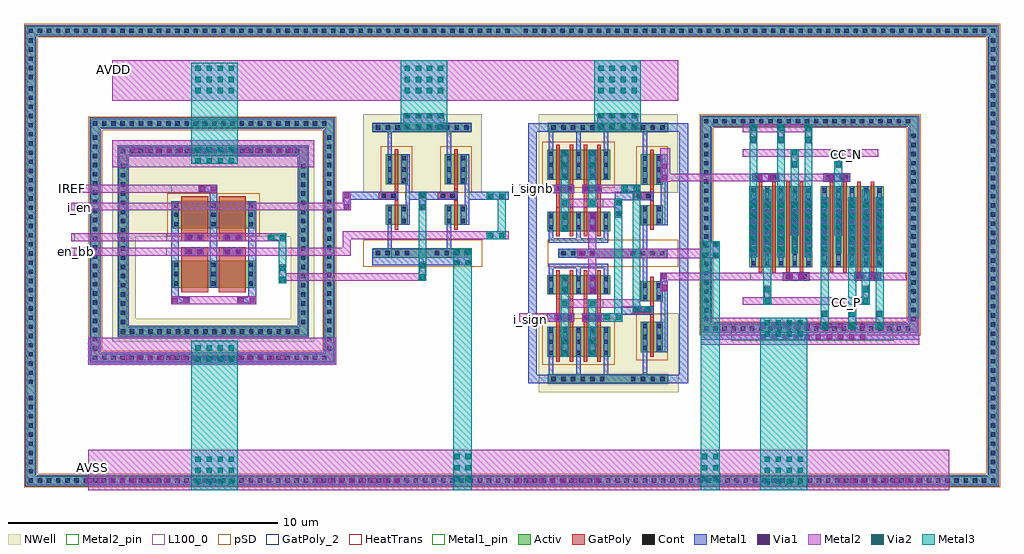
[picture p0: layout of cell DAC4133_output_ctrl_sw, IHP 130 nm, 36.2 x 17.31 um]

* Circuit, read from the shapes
.subckt DAC4133_output_ctrl_sw AVDD AVSS CC_N CC_P IREF en_bb i_en i_sign i_signb
XM1 IREF en_bb n1 AVSS sg13_lv_nmos w=1u l=1u m=2
XM2 n2 i_en AVSS AVSS sg13_lv_nmos w=0.74u l=0.13u
XM3 en_bb n2 AVSS AVSS sg13_lv_nmos w=0.74u l=0.13u
XM4 DAC4133_non_overlap_25/xa i_sign n3 AVSS sg13_lv_nmos w=0.72u l=0.13u m=2
XM5 DAC4133_non_overlap_25/xb i_signb n4 AVSS sg13_lv_nmos w=0.72u l=0.13u m=2
XM6 AVSS DAC4133_non_overlap_25/xb n3 AVSS sg13_lv_nmos w=0.72u l=0.13u m=2
XM7 AVSS DAC4133_non_overlap_25/xa n4 AVSS sg13_lv_nmos w=0.72u l=0.13u m=2
XM8 n5 DAC4133_non_overlap_25/xa AVSS AVSS sg13_lv_nmos w=0.74u l=0.13u
XM9 n6 DAC4133_non_overlap_25/xb AVSS AVSS sg13_lv_nmos w=0.74u l=0.13u
XM10 CC_P n6 n7 AVSS sg13_lv_nmos w=3u l=0.13u m=2
XM11 CC_N n5 n7 AVSS sg13_lv_nmos w=3u l=0.13u m=2
XM12 CC_N n6 AVSS AVSS sg13_lv_nmos w=3u l=0.13u m=2
XM13 CC_P n5 AVSS AVSS sg13_lv_nmos w=3u l=0.13u m=2
XM14 IREF n2 n1 AVDD sg13_lv_pmos w=1u l=1u m=2
XM15 n2 i_en AVDD AVDD sg13_lv_pmos w=1.12u l=0.13u
XM16 en_bb n2 AVDD AVDD sg13_lv_pmos w=1.12u l=0.13u
XM17 DAC4133_non_overlap_25/xa i_sign AVDD AVDD sg13_lv_pmos w=1.12u l=0.13u m=2
XM18 DAC4133_non_overlap_25/xb i_signb AVDD AVDD sg13_lv_pmos w=1.12u l=0.13u m=2
XM19 DAC4133_non_overlap_25/xa DAC4133_non_overlap_25/xb AVDD AVDD sg13_lv_pmos w=1.12u l=0.13u m=2
XM20 DAC4133_non_overlap_25/xb DAC4133_non_overlap_25/xa AVDD AVDD sg13_lv_pmos w=1.12u l=0.13u m=2
XM21 n5 DAC4133_non_overlap_25/xa AVDD AVDD sg13_lv_pmos w=1.12u l=0.13u
XM22 n6 DAC4133_non_overlap_25/xb AVDD AVDD sg13_lv_pmos w=1.12u l=0.13u
.ends

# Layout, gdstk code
from math import pi, radians
import gdstk
lib = gdstk.Library(unit=1e-6, precision=1e-09)
def R(c, l, rs):  # rectangles x0, y0, x1, y1
    for r in rs: c.add(gdstk.rectangle(r[:2], r[2:], *l))
def A(c, l, x, y, w, h, nx, ny, dx, dy):  # array of equal rectangles
    R(c, l, [(x+i*dx, y+j*dy, x+i*dx+w, y+j*dy+h) for i in range(nx) for j in range(ny)])
def P(c, l, *ps):  # polygons
    for p in ps: c.add(gdstk.Polygon(p, *l))
Activ = (1, 0)
GatPoly = (5, 0)
GatPoly_2 = (5, 2)
Cont = (6, 0)
Metal1 = (8, 0)
Metal1_pin = (8, 2)
Metal2 = (10, 0)
Metal2_pin = (10, 2)
pSD = (14, 0)
Via1 = (19, 0)
Via2 = (29, 0)
Metal3 = (30, 0)
NWell = (31, 0)
HeatTrans = (51, 0)
L100_0 = (100, 0)

via_stack_12 = lib.new_cell('via_stack$12')
R(via_stack_12, Metal2, [(-0.1,-0.35,0.1,0.35)])
R(via_stack_12, Via2, [(-0.095,-0.3,0.095,-0.11), (-0.095,0.11,0.095,0.3)])
R(via_stack_12, Metal3, [(-0.1,-0.35,0.1,0.35)])

via_stack_5 = lib.new_cell('via_stack$5')
R(via_stack_5, Metal1, [(-0.105,-0.35,0.105,0.35)])
R(via_stack_5, Metal2, [(-0.1,-0.35,0.1,0.35)])
R(via_stack_5, Via1, [(-0.095,-0.3,0.095,-0.11), (-0.095,0.11,0.095,0.3)])
R(via_stack_5, Via2, [(-0.095,-0.3,0.095,-0.11), (-0.095,0.11,0.095,0.3)])
R(via_stack_5, Metal3, [(-0.1,-0.35,0.1,0.35)])

via_stack_2 = lib.new_cell('via_stack$2')
R(via_stack_2, Metal2, [(-0.35,-0.1,0.35,0.1)])
R(via_stack_2, Via2, [(-0.3,-0.095,-0.11,0.095), (0.11,-0.095,0.3,0.095)])
R(via_stack_2, Metal3, [(-0.35,-0.1,0.35,0.1)])

via_stack_27 = lib.new_cell('via_stack$27')
R(via_stack_27, Metal2, [(-0.305,-0.555,0.305,0.555)])
A(via_stack_27, Via2, -0.3, -0.505, 0.19, 0.19, 1, 3, 0, 0.41)
A(via_stack_27, Via2, 0.11, -0.505, 0.19, 0.19, 1, 3, 0, 0.41)
R(via_stack_27, Metal3, [(-0.305,-0.555,0.305,0.555)])

via_stack_26 = lib.new_cell('via_stack$26')
R(via_stack_26, Metal1, [(-0.35,-0.105,0.35,0.105)])
R(via_stack_26, Metal2, [(-0.35,-0.1,0.35,0.1)])
R(via_stack_26, Via1, [(-0.3,-0.095,-0.11,0.095), (0.11,-0.095,0.3,0.095)])
R(via_stack_26, Via2, [(-0.3,-0.095,-0.11,0.095), (0.11,-0.095,0.3,0.095)])
R(via_stack_26, Metal3, [(-0.35,-0.1,0.35,0.1)])

via_stack_17 = lib.new_cell('via_stack$17')
R(via_stack_17, Metal1, [(-3.015,-0.105,3.015,0.105)])
R(via_stack_17, Metal2, [(-3.015,-0.1,3.015,0.1)])
A(via_stack_17, Via1, -2.965, -0.095, 0.19, 0.19, 15, 1, 0.41, 0)

via_stack_14 = lib.new_cell('via_stack$14')
R(via_stack_14, Metal1, [(-0.35,-0.105,0.35,0.105)])
R(via_stack_14, Metal2, [(-0.35,-0.1,0.35,0.1)])
R(via_stack_14, Via1, [(-0.3,-0.095,-0.11,0.095), (0.11,-0.095,0.3,0.095)])

pmos_3 = lib.new_cell('pmos$3')
R(pmos_3, Activ, [(0,0,0.3,0.3), (0,0,1.68,1), (1.38,0,1.68,0.3)])
R(pmos_3, GatPoly, [(0.34,-0.18,1.34,1.18), (0.34,-0.18,1.34,1.18)])
A(pmos_3, Cont, 0.07, 0.07, 0.16, 0.16, 1, 3, 0, 0.35)
A(pmos_3, Cont, 1.45, 0.07, 0.16, 0.16, 1, 3, 0, 0.35)
R(pmos_3, Metal1, [(0.07,0,0.23,1), (0.07,0,0.23,1), (1.45,0,1.61,1), (1.45,0,1.61,1)])
R(pmos_3, pSD, [(-0.18,-0.3,1.86,1.3)])
R(pmos_3, NWell, [(-0.31,-0.31,1.99,1.31)])
R(pmos_3, HeatTrans, [(0.34,-0.18,1.34,1.18)])
pmos_3.add(gdstk.Label('pmos', (0.84,0.5), layer=63, texttype=0))
pmos_3.add(gdstk.Label('pmos', (0.84,0.5), layer=51, texttype=0))

nmos_4 = lib.new_cell('nmos$4')
R(nmos_4, Activ, [(0,0,0.3,0.3), (0,0,1.68,1), (1.38,0,1.68,0.3)])
R(nmos_4, GatPoly, [(0.34,-0.18,1.34,1.18)])
R(nmos_4, GatPoly_2, [(0.34,-0.18,1.34,1.18)])
A(nmos_4, Cont, 0.07, 0.07, 0.16, 0.16, 1, 3, 0, 0.35)
A(nmos_4, Cont, 1.45, 0.07, 0.16, 0.16, 1, 3, 0, 0.35)
R(nmos_4, Metal1, [(0.07,0,0.23,1), (1.45,0,1.61,1)])
R(nmos_4, Metal1_pin, [(0.07,0,0.23,1), (1.45,0,1.61,1)])
R(nmos_4, HeatTrans, [(0.34,-0.18,1.34,1.18)])
nmos_4.add(gdstk.Label('nmos', (0.84,0.5), layer=63, texttype=0))
nmos_4.add(gdstk.Label('nmos', (0.84,0.5), layer=51, texttype=0))

dac4133_tgate = lib.new_cell('DAC4133_tgate')
P(dac4133_tgate, Activ, [(-7.265,-36.38),(-7.265,-27.69),(-6.955,-27.69),(-6.955,-36.07),(1.425,-36.07),(1.425,-27.69),(-7.265,-27.69),(-7.265,-27.38),(1.735,-27.38),(1.735,-36.38)],
  [(-6.23,-35.4),(-6.23,-28.71),(-5.92,-28.71),(-5.92,-35.09),(0.46,-35.09),(0.46,-28.71),(-6.23,-28.71),(-6.23,-28.4),(0.77,-28.4),(0.77,-35.4)])
R(dac4133_tgate, GatPoly, [(-3.91,-32.445,-2.91,-32.135), (-2.53,-32.445,-1.53,-32.135), (-3.91,-31.915,-2.91,-31.605), (-2.53,-31.915,-1.53,-31.605)])
A(dac4133_tgate, Cont, -7.195, -36.31, 0.16, 0.16, 26, 2, 0.34, 8.69)
A(dac4133_tgate, Cont, -7.195, -35.96, 0.16, 0.16, 1, 24, 0, 0.34)
A(dac4133_tgate, Cont, 1.495, -35.96, 0.16, 0.16, 1, 24, 0, 0.34)
A(dac4133_tgate, Cont, -6.16, -35.33, 0.16, 0.16, 20, 2, 0.34, 6.69)
A(dac4133_tgate, Cont, -6.16, -34.98, 0.16, 0.16, 1, 18, 0, 0.34)
A(dac4133_tgate, Cont, 0.53, -34.98, 0.16, 0.16, 1, 18, 0, 0.34)
R(dac4133_tgate, Cont, [(-3.665,-32.37,-3.505,-32.21), (-3.665,-32.37,-3.505,-32.21), (-3.305,-32.37,-3.145,-32.21), (-3.305,-32.37,-3.145,-32.21), (-2.265,-32.37,-2.105,-32.21), (-2.265,-32.37,-2.105,-32.21), (-1.905,-32.37,-1.745,-32.21), (-1.905,-32.37,-1.745,-32.21), (-3.665,-31.84,-3.505,-31.68), (-3.665,-31.84,-3.505,-31.68), (-3.305,-31.84,-3.145,-31.68), (-3.305,-31.84,-3.145,-31.68), (-2.265,-31.84,-2.105,-31.68), (-2.265,-31.84,-2.105,-31.68), (-1.905,-31.84,-1.745,-31.68), (-1.905,-31.84,-1.745,-31.68)])
R(dac4133_tgate, Metal1, [(-3.72,-32.445,-3.09,-32.135), (-2.32,-32.445,-1.69,-32.135), (-3.72,-31.915,-3.09,-31.605), (-2.32,-31.915,-1.69,-31.605)])
P(dac4133_tgate, Metal1, [(-7.315,-36.43),(-7.315,-27.74),(-6.905,-27.74),(-6.905,-36.02),(1.375,-36.02),(1.375,-27.74),(-7.315,-27.74),(-7.315,-27.33),(1.785,-27.33),(1.785,-36.43)],
  [(-6.28,-35.45),(-6.28,-28.76),(-5.87,-28.76),(-5.87,-35.04),(0.41,-35.04),(0.41,-28.76),(-6.28,-28.76),(-6.28,-28.35),(0.82,-28.35),(0.82,-35.45)])
R(dac4133_tgate, Metal2_pin, [(-7.365,-36.48,1.835,-35.48), (-4.295,-34.235,-1.145,-33.945), (-3.725,-34.235,-3.355,-33.945), (-4.78,-32.435,-4.46,-32.145), (-4.78,-31.905,-4.46,-31.615), (-4.295,-30.105,-2.575,-29.815), (-4.26,-30.105,-3.875,-29.815), (-6.47,-29.16,1.01,-28.16)])
P(dac4133_tgate, pSD, [(-7.365,-36.48),(-7.365,-27.79),(-6.855,-27.79),(-6.855,-35.97),(1.325,-35.97),(1.325,-27.79),(-7.365,-27.79),(-7.365,-27.28),(1.835,-27.28),(1.835,-36.48)])
R(dac4133_tgate, NWell, [(-6.47,-35.64,-5.61,-28.16), (-6.47,-35.64,1.01,-34.78), (0.15,-35.64,1.01,-28.16), (-6.47,-31.735,1.01,-28.16)])
P(dac4133_tgate, NWell, [(-6.47,-35.64),(-6.47,-28.95),(-5.68,-28.95),(-5.68,-34.85),(0.22,-34.85),(0.22,-28.95),(-6.47,-28.95),(-6.47,-28.16),(1.01,-28.16),(1.01,-35.64)])
dac4133_tgate.add(gdstk.FlexPath([(-4.15,-30.425),(-4.15,-34.235)], 0.29, ends="flush", simple_path=True, layer=8, datatype=0))  # Metal1
dac4133_tgate.add(gdstk.FlexPath([(-2.72,-29.815),(-2.72,-33.625)], 0.29, ends="flush", simple_path=True, layer=8, datatype=0))  # Metal1
dac4133_tgate.add(gdstk.FlexPath([(-1.29,-30.425),(-1.29,-34.235)], 0.29, ends="flush", simple_path=True, layer=8, datatype=0))  # Metal1
dac4133_tgate.add(gdstk.FlexPath([(-1.145,-34.09),(-4.295,-34.09)], 0.29, ends="flush", simple_path=True, layer=10, datatype=0))  # Metal2
dac4133_tgate.add(gdstk.FlexPath([(-1.655,-31.76),(-4.78,-31.76)], 0.29, ends="flush", simple_path=True, layer=10, datatype=0))  # Metal2
dac4133_tgate.add(gdstk.FlexPath([(-2.575,-29.96),(-4.295,-29.96)], 0.29, ends="flush", simple_path=True, layer=10, datatype=0))  # Metal2
dac4133_tgate.add(gdstk.FlexPath([(-1.655,-32.29),(-4.78,-32.29)], 0.29, ends="flush", simple_path=True, layer=10, datatype=0))  # Metal2
dac4133_tgate.add(gdstk.FlexPath([(-6.47,-28.66),(1.01,-28.66)], 1, ends="flush", simple_path=True, layer=10, datatype=0))  # Metal2
dac4133_tgate.add(gdstk.FlexPath([(-7.365,-35.98),(1.835,-35.98)], 1, ends="flush", simple_path=True, layer=10, datatype=0))  # Metal2
dac4133_tgate.add(gdstk.Reference(via_stack_17, (-2.725,-28.555)))
dac4133_tgate.add(gdstk.Reference(via_stack_14, (-2.925,-29.96)))
dac4133_tgate.add(gdstk.Reference(via_stack_14, (-3.435,-32.29)))
dac4133_tgate.add(gdstk.Reference(via_stack_14, (-3.435,-31.76)))
dac4133_tgate.add(gdstk.Reference(via_stack_14, (-2.005,-32.29)))
dac4133_tgate.add(gdstk.Reference(via_stack_14, (-2.005,-31.76)))
dac4133_tgate.add(gdstk.Reference(pmos_3, (-2.87,-31.425)))
dac4133_tgate.add(gdstk.Reference(nmos_4, (-4.25,-33.625)))
dac4133_tgate.add(gdstk.Reference(via_stack_14, (-3.945,-34.09)))
dac4133_tgate.add(gdstk.Reference(nmos_4, (-2.87,-33.625)))
dac4133_tgate.add(gdstk.Reference(pmos_3, (-4.25,-31.425)))
dac4133_tgate.add(gdstk.Reference(via_stack_14, (-1.495,-34.09)))
dac4133_tgate.add(gdstk.Reference(via_stack_17, (-3.02,-36.225)))
dac4133_tgate.add(gdstk.Label('AVDD', (-6.365,-28.275), layer=10, texttype=25))
dac4133_tgate.add(gdstk.Label('AVSS', (-5.975,-35.77), layer=10, texttype=25))
dac4133_tgate.add(gdstk.Label('IREF', (-4.23,-29.92), layer=10, texttype=25))

via_stack_20 = lib.new_cell('via_stack$20')
R(via_stack_20, Metal1, [(-0.105,-0.35,0.105,0.35)])
R(via_stack_20, Metal2, [(-0.1,-0.35,0.1,0.35)])
R(via_stack_20, Via1, [(-0.095,-0.3,0.095,-0.11), (-0.095,0.11,0.095,0.3)])

via_stack_10 = lib.new_cell('via_stack$10')
R(via_stack_10, Metal1, [(-1.58,-0.105,1.58,0.105)])
R(via_stack_10, Metal2, [(-1.58,-0.1,1.58,0.1)])
A(via_stack_10, Via1, -1.53, -0.095, 0.19, 0.19, 8, 1, 0.41, 0)

via_stack_24 = lib.new_cell('via_stack$24')
R(via_stack_24, Metal1, [(-0.76,-0.31,0.76,0.31)])
R(via_stack_24, Metal2, [(-0.76,-0.305,0.76,0.305)])
A(via_stack_24, Via1, -0.71, -0.3, 0.19, 0.19, 4, 2, 0.41, 0.41)
A(via_stack_24, Via2, -0.71, -0.3, 0.19, 0.19, 4, 2, 0.41, 0.41)
R(via_stack_24, Metal3, [(-0.76,-0.305,0.76,0.305)])

via_stack_25 = lib.new_cell('via_stack$25')
R(via_stack_25, Metal2, [(-0.76,-0.51,0.76,0.51)])
A(via_stack_25, Via2, -0.71, -0.505, 0.19, 0.19, 4, 3, 0.41, 0.41)
R(via_stack_25, Metal3, [(-0.76,-0.51,0.76,0.51)])

via_stack_22 = lib.new_cell('via_stack$22')
R(via_stack_22, Metal2, [(-0.76,-0.305,0.76,0.305)])
A(via_stack_22, Via2, -0.71, -0.3, 0.19, 0.19, 4, 2, 0.41, 0.41)
R(via_stack_22, Metal3, [(-0.76,-0.305,0.76,0.305)])

via_stack_19 = lib.new_cell('via_stack$19')
R(via_stack_19, Metal2, [(-0.145,-0.1,0.145,0.1)])
R(via_stack_19, Via2, [(-0.095,-0.095,0.095,0.095)])
R(via_stack_19, Metal3, [(-0.145,-0.1,0.145,0.1)])

nmos_2 = lib.new_cell('nmos$2')
A(nmos_2, Activ, 0, 0, 0.3, 0.3, 3, 1, 0.51, 0)
R(nmos_2, Activ, [(0,0,1.32,0.72)])
R(nmos_2, GatPoly, [(0.34,-0.18,0.47,0.9), (0.85,-0.18,0.98,0.9)])
R(nmos_2, GatPoly_2, [(0.34,-0.18,0.47,0.9)])
A(nmos_2, Cont, 0.07, 0.07, 0.16, 0.16, 3, 2, 0.51, 0.42)
A(nmos_2, Metal1, 0.07, 0, 0.16, 0.72, 3, 1, 0.51, 0)
R(nmos_2, Metal1_pin, [(0.07,0,0.23,0.72), (0.58,0,0.74,0.72)])
R(nmos_2, HeatTrans, [(0.34,-0.18,0.47,0.9), (0.85,-0.18,0.98,0.9)])
nmos_2.add(gdstk.Label('nmos', (0.405,0.36), layer=63, texttype=0))
nmos_2.add(gdstk.Label('nmos', (0.405,0.36), layer=51, texttype=0))
nmos_2.add(gdstk.Label('nmos', (0.915,0.36), layer=51, texttype=0))

pmos_4 = lib.new_cell('pmos$4')
A(pmos_4, Activ, 0, 0, 0.3, 0.3, 3, 1, 0.51, 0)
R(pmos_4, Activ, [(0,0,1.32,1.12)])
R(pmos_4, GatPoly, [(0.34,-0.18,0.47,1.3), (0.34,-0.18,0.47,1.3), (0.85,-0.18,0.98,1.3)])
A(pmos_4, Cont, 0.07, 0.07, 0.16, 0.16, 3, 3, 0.51, 0.41)
R(pmos_4, Metal1, [(0.07,0,0.23,1.12), (0.07,0,0.23,1.12), (0.58,0,0.74,1.12), (0.58,0,0.74,1.12), (1.09,0,1.25,1.12)])
R(pmos_4, pSD, [(-0.18,-0.3,1.5,1.42)])
R(pmos_4, NWell, [(-0.31,-0.31,1.63,1.43)])
R(pmos_4, HeatTrans, [(0.34,-0.18,0.47,1.3), (0.85,-0.18,0.98,1.3)])
pmos_4.add(gdstk.Label('pmos', (0.405,0.56), layer=63, texttype=0))
pmos_4.add(gdstk.Label('pmos', (0.405,0.56), layer=51, texttype=0))
pmos_4.add(gdstk.Label('pmos', (0.915,0.56), layer=51, texttype=0))

dac4133_nand = lib.new_cell('DAC4133_nand')
R(dac4133_nand, Activ, [(-0.015,-2.86,1.435,-2.51), (-0.425,1.8,1.83,2.15)])
R(dac4133_nand, GatPoly, [(-0.165,-0.455,0.205,-0.145), (0.195,-0.455,0.565,-0.145), (0.855,-0.455,1.225,-0.145), (1.215,-0.455,1.585,-0.145)])
A(dac4133_nand, Cont, 0.09, -2.765, 0.16, 0.16, 4, 1, 0.36, 0)
A(dac4133_nand, Cont, -0.28, 1.895, 0.16, 0.16, 6, 1, 0.36, 0)
R(dac4133_nand, Cont, [(-0.06,-0.38,0.1,-0.22), (0.3,-0.38,0.46,-0.22), (0.96,-0.38,1.12,-0.22), (1.32,-0.38,1.48,-0.22)])
R(dac4133_nand, Metal1, [(-0.03,-2.845,1.45,-2.525), (-0.165,-0.455,0.205,-0.145), (0.195,-0.455,0.565,-0.145), (0.855,-0.455,1.225,-0.145), (1.215,-0.455,1.585,-0.145), (-0.4,1.815,1.825,2.135)])
R(dac4133_nand, Metal1_pin, [(-0.03,-2.845,1.45,-2.525), (-0.45,-0.455,0.565,-0.145), (-0.4,1.815,1.825,2.135)])
R(dac4133_nand, Metal2, [(1.09,-2.82,1.38,-1.185), (0.68,-2.815,1.38,-2.57), (0.115,-1.895,0.34,-1.195), (0.1,0.455,0.325,1.155), (1.125,0.455,1.35,1.155)])
R(dac4133_nand, Metal2_pin, [(1.62,-0.975,2.07,-0.665), (0.87,-0.395,1.57,-0.195)])
A(dac4133_nand, pSD, -0.38, -3.185, 1.13, 1, 4, 1, 0.36, 0)
R(dac4133_nand, NWell, [(-0.755,1.465,2.205,2.465)])
dac4133_nand.add(gdstk.FlexPath([(-0.375,-2.215),(1.825,-2.215)], 0.16, ends="flush", simple_path=True, layer=8, datatype=0))  # Metal1
dac4133_nand.add(gdstk.FlexPath([(1.745,-1.875),(1.745,-2.295)], 0.16, ends="flush", simple_path=True, layer=8, datatype=0))  # Metal1
dac4133_nand.add(gdstk.FlexPath([(0.725,-1.875),(0.725,-2.295)], 0.16, ends="flush", simple_path=True, layer=8, datatype=0))  # Metal1
dac4133_nand.add(gdstk.FlexPath([(-0.295,-1.875),(-0.295,-2.295)], 0.16, ends="flush", simple_path=True, layer=8, datatype=0))  # Metal1
dac4133_nand.add(gdstk.FlexPath([(0.565,-0.3),(-0.45,-0.3)], 0.31, ends="flush", simple_path=True, layer=8, datatype=0))  # Metal1
dac4133_nand.add(gdstk.FlexPath([(-0.295,0.035),(-0.295,2.135)], 0.16, ends="flush", simple_path=True, layer=8, datatype=0))  # Metal1
dac4133_nand.add(gdstk.FlexPath([(0.725,0.035),(0.725,2.135)], 0.16, ends="flush", simple_path=True, layer=8, datatype=0))  # Metal1
dac4133_nand.add(gdstk.FlexPath([(1.745,0.035),(1.745,2.135)], 0.16, ends="flush", simple_path=True, layer=8, datatype=0))  # Metal1
dac4133_nand.add(gdstk.FlexPath([(2.07,-0.82),(0.065,-0.82)], 0.31, ends="flush", simple_path=True, layer=10, datatype=0))  # Metal2
dac4133_nand.add(gdstk.FlexPath([(-0.04,-0.975),(-0.04,-0.445)], 0.13, ends="flush", simple_path=True, layer=5, datatype=0))  # GatPoly
dac4133_nand.add(gdstk.FlexPath([(0.47,-0.975),(0.47,-0.455)], 0.13, ends="flush", simple_path=True, layer=5, datatype=0))  # GatPoly
dac4133_nand.add(gdstk.FlexPath([(0.98,-0.975),(0.98,-0.445)], 0.13, ends="flush", simple_path=True, layer=5, datatype=0))  # GatPoly
dac4133_nand.add(gdstk.FlexPath([(1.49,-0.975),(1.49,-0.455)], 0.13, ends="flush", simple_path=True, layer=5, datatype=0))  # GatPoly
dac4133_nand.add(gdstk.FlexPath([(0.215,1.155),(0.215,-0.975)], 0.29, ends="flush", simple_path=True, layer=30, datatype=0))  # Metal3
dac4133_nand.add(gdstk.FlexPath([(1.235,1.155),(1.235,-0.975)], 0.29, ends="flush", simple_path=True, layer=30, datatype=0))  # Metal3
dac4133_nand.add(gdstk.FlexPath([(0.215,-1.875),(0.215,-0.665)], 0.29, ends="flush", simple_path=True, layer=30, datatype=0))  # Metal3
dac4133_nand.add(gdstk.Reference(via_stack_20, (1.235,-1.535)))
dac4133_nand.add(gdstk.Reference(via_stack_5, (0.23,-1.545)))
dac4133_nand.add(gdstk.Reference(via_stack_19, (0.215,-0.82)))
dac4133_nand.add(gdstk.Reference(via_stack_19, (1.235,-0.82)))
dac4133_nand.add(gdstk.Reference(via_stack_5, (1.235,0.805)))
dac4133_nand.add(gdstk.Reference(via_stack_5, (0.215,0.805)))
dac4133_nand.add(gdstk.Reference(nmos_2, (0.575,-1.875)))
dac4133_nand.add(gdstk.Reference(pmos_4, (0.575,0.035)))
dac4133_nand.add(gdstk.Reference(nmos_2, (-0.445,-1.875)))
dac4133_nand.add(gdstk.Reference(pmos_4, (-0.445,0.035)))
dac4133_nand.add(gdstk.Reference(pmos_4, (-0.445,0.035)))
dac4133_nand.add(gdstk.Reference(via_stack_20, (1.03,-2.685), rotation=pi/2))
dac4133_nand.add(gdstk.Reference(via_stack_20, (1.22,-0.295), rotation=pi/2))

pmos_2 = lib.new_cell('pmos$2')
R(pmos_2, Activ, [(0,0,0.3,0.3), (0,0,0.81,1.12), (0.51,0,0.81,0.3)])
R(pmos_2, GatPoly, [(0.34,-0.18,0.47,1.3), (0.34,-0.18,0.47,1.3)])
A(pmos_2, Cont, 0.07, 0.07, 0.16, 0.16, 1, 3, 0, 0.41)
A(pmos_2, Cont, 0.58, 0.07, 0.16, 0.16, 1, 3, 0, 0.41)
R(pmos_2, Metal1, [(0.07,0,0.23,1.12), (0.07,0,0.23,1.12), (0.58,0,0.74,1.12), (0.58,0,0.74,1.12)])
R(pmos_2, pSD, [(-0.18,-0.3,0.99,1.42)])
R(pmos_2, NWell, [(-0.31,-0.31,1.12,1.43)])
R(pmos_2, HeatTrans, [(0.34,-0.18,0.47,1.3)])
pmos_2.add(gdstk.Label('pmos', (0.405,0.56), layer=63, texttype=0))
pmos_2.add(gdstk.Label('pmos', (0.405,0.56), layer=51, texttype=0))

nmos = lib.new_cell('nmos')
R(nmos, Activ, [(0,0,0.3,0.3), (0,0,0.81,0.74), (0.51,0,0.81,0.3)])
R(nmos, GatPoly, [(0.34,-0.18,0.47,0.92)])
R(nmos, GatPoly_2, [(0.34,-0.18,0.47,0.92)])
R(nmos, Cont, [(0.07,0.07,0.23,0.23), (0.58,0.07,0.74,0.23), (0.07,0.51,0.23,0.67), (0.58,0.51,0.74,0.67)])
R(nmos, Metal1, [(0.07,0,0.23,0.74), (0.58,0,0.74,0.74)])
R(nmos, Metal1_pin, [(0.07,0,0.23,0.74), (0.58,0,0.74,0.74)])
R(nmos, HeatTrans, [(0.34,-0.18,0.47,0.92)])
nmos.add(gdstk.Label('nmos', (0.405,0.37), layer=63, texttype=0))
nmos.add(gdstk.Label('nmos', (0.405,0.37), layer=51, texttype=0))

dac4133_inv = lib.new_cell('DAC4133_inv')
R(dac4133_inv, Activ, [(0.525,-1.72,1.975,-1.37), (0.535,2.94,1.985,3.29), (0.535,2.94,1.985,3.29)])
R(dac4133_inv, GatPoly, [(0.74,0.425,1.47,0.735)])
R(dac4133_inv, GatPoly_2, [(1.34,-0.68,1.47,2.3)])
A(dac4133_inv, Cont, 0.63, -1.625, 0.16, 0.16, 4, 1, 0.36, 0)
R(dac4133_inv, Cont, [(0.845,0.5,1.005,0.66), (1.205,0.5,1.365,0.66), (0.64,3.035,0.8,3.195), (0.64,3.035,0.8,3.195), (1,3.035,1.16,3.195), (1,3.035,1.16,3.195), (1.36,3.035,1.52,3.195), (1.36,3.035,1.52,3.195), (1.72,3.035,1.88,3.195), (1.72,3.035,1.88,3.195)])
R(dac4133_inv, Metal1, [(0.525,-1.705,2.005,-1.385), (1.74,-0.5,1.9,2.12), (0.74,0.425,1.47,0.735), (1.07,2.88,1.23,3.275), (1.07,2.88,1.23,3.275), (0.52,2.955,2,3.275), (0.52,2.955,2,3.275)])
R(dac4133_inv, Metal1_pin, [(1.07,-1.695,1.23,0.24), (1.74,-0.5,1.9,2.12), (1.74,-0.5,1.9,2.12), (0.74,0.425,1.47,0.735), (1.07,1,1.23,2.885)])
R(dac4133_inv, pSD, [(0.17,-2.045,2.38,-1.045)])
R(dac4133_inv, NWell, [(0.165,0.69,2.375,3.605)])
R(dac4133_inv, L100_0, [(1.069,-0.431,1.231,-0.269), (1.069,-0.431,1.231,-0.269), (1.579,-0.431,1.741,-0.269), (1.579,-0.431,1.741,-0.269), (1.069,0.009,1.231,0.171), (1.069,0.009,1.231,0.171), (1.579,0.009,1.741,0.171), (1.579,0.009,1.741,0.171), (1.069,1.069,1.231,1.231), (1.069,1.069,1.231,1.231), (1.579,1.069,1.741,1.231), (1.579,1.069,1.741,1.231), (1.069,1.479,1.231,1.641), (1.069,1.479,1.231,1.641), (1.579,1.479,1.741,1.641), (1.579,1.479,1.741,1.641), (1.069,1.889,1.231,2.051), (1.069,1.889,1.231,2.051), (1.579,1.889,1.741,2.051), (1.579,1.889,1.741,2.051)])
dac4133_inv.add(gdstk.FlexPath([(1.15,0.24),(1.15,-1.695)], 0.16, ends="flush", simple_path=True, layer=8, datatype=0))  # Metal1
dac4133_inv.add(gdstk.FlexPath([(1.15,2.885),(1.15,2.12)], 0.16, ends="flush", simple_path=True, layer=8, datatype=0))  # Metal1
dac4133_inv.add(gdstk.FlexPath([(1.405,0.42),(1.405,0.825)], 0.13, ends="flush", simple_path=True, layer=5, datatype=0))  # GatPoly
dac4133_inv.add(gdstk.Reference(pmos_2, (1,1)))
dac4133_inv.add(gdstk.Reference(nmos, (1,-0.5)))

dac4133_non_overlap = lib.new_cell('DAC4133_non_overlap')
R(dac4133_non_overlap, Activ, [(-0.425,-7.52,4.045,-7.17), (-0.015,-2.86,4.01,-2.51), (-0.425,1.8,4.045,2.15)])
R(dac4133_non_overlap, Metal1, [(-0.4,-7.515,4.035,-7.185), (-0.03,-2.845,4.04,-2.525), (0.125,-1.895,0.335,-1.155), (1.13,-1.895,1.34,-1.155), (2.07,-1.365,2.35,-0.405), (0.11,0.035,0.32,1.155), (1.13,0.035,1.34,1.155), (-0.4,1.82,4.035,2.145)])
R(dac4133_non_overlap, Metal1_pin, [(-0.4,-7.515,4.035,-7.185), (-0.4,-5.225,0.5,-4.915), (3.615,-4.47,3.935,-3.73), (3.655,-4.415,3.89,-3.78), (-0.03,-2.845,4.04,-2.525), (3.615,-1.64,3.93,-0.9), (3.66,-1.595,3.895,-0.97), (-0.4,-0.455,0.5,-0.145), (-0.4,1.82,4.035,2.145)])
R(dac4133_non_overlap, Metal2, [(0.855,-5.225,2.345,-4.915), (2.725,-4.9,3.425,-4.655), (2.725,-4.86,3.015,-4.395), (0.065,-4.705,2.605,-4.395), (0.065,-4.705,3.015,-4.395), (2.055,-1.365,2.345,-0.665), (2.085,-1.365,2.31,-0.665), (0.855,-0.455,2.605,-0.145)])
R(dac4133_non_overlap, pSD, [(-0.41,-3.185,4.415,-2.185)])
R(dac4133_non_overlap, Metal3, [(0.07,-6.525,0.36,-3.475), (1.645,-5.225,2.345,-4.915), (2.055,-5.225,2.345,-0.665), (2.055,-5.225,2.345,-0.665), (2.725,-4.705,3.015,-0.145), (0.07,-1.895,0.36,1.155), (2.315,-0.455,3.015,-0.145)])
R(dac4133_non_overlap, NWell, [(-0.755,-7.835,4.41,-4.925), (-0.725,-7.835,4.44,-4.925), (-0.755,-0.445,4.41,2.465), (-0.755,-0.445,4.41,2.465)])
dac4133_non_overlap.add(gdstk.FlexPath([(3.025,-4.81),(2.315,-4.81)], 0.31, ends="flush", simple_path=True, layer=8, datatype=0))  # Metal1
dac4133_non_overlap.add(gdstk.FlexPath([(-0.4,-7.35),(-0.985,-7.35),(-0.985,1.98),(-0.4,1.98)], 0.33, ends="flush", simple_path=True, layer=8, datatype=0))  # Metal1
dac4133_non_overlap.add(gdstk.FlexPath([(4.035,-7.35),(4.62,-7.35),(4.62,1.98),(-0.755,1.98)], 0.33, ends="flush", simple_path=True, layer=8, datatype=0))  # Metal1
dac4133_non_overlap.add(gdstk.FlexPath([(2.78,-0.56),(2.07,-0.56)], 0.31, ends="flush", simple_path=True, layer=8, datatype=0))  # Metal1
dac4133_non_overlap.add(gdstk.FlexPath([(2.2,-4.55),(0.065,-4.55)], 0.31, ends="flush", simple_path=True, layer=10, datatype=0))  # Metal2
dac4133_non_overlap.add(gdstk.FlexPath([(2.2,-0.82),(0.065,-0.82)], 0.31, ends="flush", simple_path=True, layer=10, datatype=0))  # Metal2
dac4133_non_overlap.add(gdstk.Reference(via_stack_5, (2.21,-1.015)))
dac4133_non_overlap.add(gdstk.Reference(dac4133_nand, (0,0)))
dac4133_non_overlap.add(gdstk.Reference(dac4133_inv, (2.035,-1.14)))
dac4133_non_overlap.add(gdstk.Reference(dac4133_inv, (2.035,-4.23), x_reflection=True))
dac4133_non_overlap.add(gdstk.Reference(dac4133_nand, (0,-5.37), x_reflection=True))
dac4133_non_overlap.add(gdstk.Reference(via_stack_5, (3.075,-4.76), rotation=3*pi/2, x_reflection=True))
dac4133_non_overlap.add(gdstk.Reference(via_stack_12, (2.665,-0.285), rotation=pi/2, x_reflection=True))
dac4133_non_overlap.add(gdstk.Reference(via_stack_12, (1.995,-5.055), rotation=pi/2, x_reflection=True))
dac4133_non_overlap.add(gdstk.Label('AVSS', (1.715,-2.685), layer=8, texttype=25))
dac4133_non_overlap.add(gdstk.Label('AVDD', (0.485,-7.42), layer=8, texttype=25))
dac4133_non_overlap.add(gdstk.Label('AVDD', (0.315,1.885), layer=8, texttype=25))
dac4133_non_overlap.add(gdstk.Label('xa', (2.855,-3.285), layer=30, texttype=25))
dac4133_non_overlap.add(gdstk.Label('xb', (2.135,-3.31), layer=30, texttype=25))

via_stack_28 = lib.new_cell('via_stack$28')
R(via_stack_28, Metal1, [(-0.35,-0.31,0.35,0.31)])
R(via_stack_28, Metal2, [(-0.35,-0.305,0.35,0.305)])
R(via_stack_28, Via1, [(-0.3,-0.3,-0.11,-0.11), (0.11,-0.3,0.3,-0.11), (-0.3,0.11,-0.11,0.3), (0.11,0.11,0.3,0.3)])
R(via_stack_28, Via2, [(-0.3,-0.3,-0.11,-0.11), (0.11,-0.3,0.3,-0.11), (-0.3,0.11,-0.11,0.3), (0.11,0.11,0.3,0.3)])
R(via_stack_28, Metal3, [(-0.35,-0.305,0.35,0.305)])

nmos_3 = lib.new_cell('nmos$3')
R(nmos_3, Activ, [(0,0,0.3,0.3), (0,0,0.81,3), (0.51,0,0.81,0.3)])
R(nmos_3, GatPoly, [(0.34,-0.18,0.47,3.18)])
R(nmos_3, GatPoly_2, [(0.34,-0.18,0.47,3.18)])
A(nmos_3, Cont, 0.07, 0.07, 0.16, 0.16, 1, 7, 0, 0.385)
A(nmos_3, Cont, 0.58, 0.07, 0.16, 0.16, 1, 7, 0, 0.385)
R(nmos_3, Cont, [(0.07,2.77,0.23,2.93), (0.58,2.77,0.74,2.93)])
R(nmos_3, Metal1, [(0.07,0,0.23,3), (0.58,0,0.74,3)])
R(nmos_3, Metal1_pin, [(0.07,0,0.23,3), (0.58,0,0.74,3)])
R(nmos_3, HeatTrans, [(0.34,-0.18,0.47,3.18)])
nmos_3.add(gdstk.Label('nmos', (0.405,1.5), layer=63, texttype=0))
nmos_3.add(gdstk.Label('nmos', (0.405,1.5), layer=51, texttype=0))

via_stack_21 = lib.new_cell('via_stack$21')
R(via_stack_21, Metal1, [(-0.105,-0.965,0.105,0.965)])
R(via_stack_21, Metal2, [(-0.1,-0.965,0.1,0.965)])
A(via_stack_21, Via1, -0.095, -0.915, 0.19, 0.19, 1, 5, 0, 0.41)
A(via_stack_21, Via2, -0.095, -0.915, 0.19, 0.19, 1, 5, 0, 0.41)
R(via_stack_21, Metal3, [(-0.1,-0.965,0.1,0.965)])

via_stack_23 = lib.new_cell('via_stack$23')
R(via_stack_23, Metal1, [(-1.99,-0.31,1.99,0.31)])
R(via_stack_23, Metal2, [(-1.99,-0.305,1.99,0.305)])
A(via_stack_23, Via1, -1.94, -0.3, 0.19, 0.19, 10, 2, 0.41, 0.41)

guard_ring = lib.new_cell('GUARD_RING')
P(guard_ring, Activ, [(0,0),(0,7.69),(0.31,7.69),(0.31,0.31),(7.69,0.31),(7.69,7.69),(0,7.69),(0,8),(8,8),(8,0)])
A(guard_ring, Cont, 0.07, 0.07, 0.16, 0.16, 23, 2, 0.34, 7.69)
A(guard_ring, Cont, 0.07, 0.42, 0.16, 0.16, 1, 21, 0, 0.34)
A(guard_ring, Cont, 7.76, 0.42, 0.16, 0.16, 1, 21, 0, 0.34)
P(guard_ring, Metal1, [(-0.05,-0.05),(-0.05,7.64),(0.36,7.64),(0.36,0.36),(7.64,0.36),(7.64,7.64),(-0.05,7.64),(-0.05,8.05),(8.05,8.05),(8.05,-0.05)])
P(guard_ring, pSD, [(-0.1,-0.1),(-0.1,7.59),(0.41,7.59),(0.41,0.41),(7.59,0.41),(7.59,7.59),(-0.1,7.59),(-0.1,8.1),(8.1,8.1),(8.1,-0.1)])

dac4133_dsw = lib.new_cell('DAC4133_dsw')
R(dac4133_dsw, GatPoly, [(1.405,0.625,1.775,0.935), (2.03,0.625,2.4,0.935), (4.05,0.625,4.42,0.935), (4.675,0.625,5.045,0.935), (0.265,4.295,0.635,4.605), (0.895,4.295,1.265,4.605), (2.905,4.295,3.275,4.605), (3.535,4.295,3.905,4.605)])
R(dac4133_dsw, Cont, [(1.51,0.7,1.67,0.86), (2.135,0.7,2.295,0.86), (4.155,0.7,4.315,0.86), (4.78,0.7,4.94,0.86), (0.37,4.37,0.53,4.53), (1,4.37,1.16,4.53), (3.01,4.37,3.17,4.53), (3.64,4.37,3.8,4.53)])
R(dac4133_dsw, Metal1, [(-1.635,-1.565,6.465,-0.955), (1.405,0.625,1.775,0.935), (1.405,0.625,2.4,0.935), (2.03,0.625,2.4,0.935), (4.05,0.625,4.42,0.935), (4.05,0.625,5.05,0.935), (4.675,0.625,5.045,0.935), (0.265,4.295,0.635,4.605), (0.265,4.295,1.265,4.605), (0.895,4.295,1.265,4.605), (2.905,4.295,3.275,4.605), (2.905,4.295,3.905,4.605), (3.535,4.295,3.905,4.605)])
R(dac4133_dsw, Metal2_pin, [(-0.5,-1.6,5.5,-0.9), (-0.09,-0.275,4.63,0.015), (0.2,0.635,4.865,0.925), (0.2,4.305,3.84,4.595), (-0.09,5.215,3.61,5.505), (-0.09,6.125,2.5,6.415)])
dac4133_dsw.add(gdstk.FlexPath([(-1.63,-1.255),(6.47,-1.255)], 1, ends="flush", simple_path=True, layer=10, datatype=0))  # Metal2
dac4133_dsw.add(gdstk.FlexPath([(0.2,0.78),(4.865,0.78)], 0.29, ends="flush", simple_path=True, layer=10, datatype=0))  # Metal2
dac4133_dsw.add(gdstk.FlexPath([(-0.09,-1.04),(5.14,-1.04)], 0.29, ends="flush", simple_path=True, layer=10, datatype=0))  # Metal2
dac4133_dsw.add(gdstk.FlexPath([(-0.09,5.36),(3.61,5.36)], 0.29, ends="flush", simple_path=True, layer=10, datatype=0))  # Metal2
dac4133_dsw.add(gdstk.FlexPath([(-0.09,6.27),(2.5,6.27)], 0.29, ends="flush", simple_path=True, layer=10, datatype=0))  # Metal2
dac4133_dsw.add(gdstk.FlexPath([(0.2,4.45),(3.84,4.45)], 0.29, ends="flush", simple_path=True, layer=10, datatype=0))  # Metal2
dac4133_dsw.add(gdstk.FlexPath([(-0.09,-0.13),(4.63,-0.13)], 0.29, ends="flush", simple_path=True, layer=10, datatype=0))  # Metal2
dac4133_dsw.add(gdstk.FlexPath([(0.315,1.5),(0.315,6.415)], 0.29, ends="flush", simple_path=True, layer=30, datatype=0))  # Metal3
dac4133_dsw.add(gdstk.FlexPath([(0.825,-0.275),(0.825,3.995)], 0.29, ends="flush", simple_path=True, layer=30, datatype=0))  # Metal3
dac4133_dsw.add(gdstk.FlexPath([(1.335,1.5),(1.335,6.415)], 0.29, ends="flush", simple_path=True, layer=30, datatype=0))  # Metal3
dac4133_dsw.add(gdstk.FlexPath([(2.355,1.5),(2.355,6.415)], 0.29, ends="flush", simple_path=True, layer=30, datatype=0))  # Metal3
dac4133_dsw.add(gdstk.FlexPath([(1.845,2.315),(1.845,5.505)], 0.29, ends="flush", simple_path=True, layer=30, datatype=0))  # Metal3
dac4133_dsw.add(gdstk.FlexPath([(2.955,-1.185),(2.955,3.71)], 0.29, ends="flush", simple_path=True, layer=30, datatype=0))  # Metal3
dac4133_dsw.add(gdstk.FlexPath([(3.465,2.315),(3.465,5.505)], 0.29, ends="flush", simple_path=True, layer=30, datatype=0))  # Metal3
dac4133_dsw.add(gdstk.FlexPath([(3.975,-1.185),(3.975,3.71)], 0.29, ends="flush", simple_path=True, layer=30, datatype=0))  # Metal3
dac4133_dsw.add(gdstk.FlexPath([(4.995,-1.185),(4.995,3.71)], 0.29, ends="flush", simple_path=True, layer=30, datatype=0))  # Metal3
dac4133_dsw.add(gdstk.FlexPath([(4.485,-0.275),(4.485,3.995)], 0.29, ends="flush", simple_path=True, layer=30, datatype=0))  # Metal3
dac4133_dsw.add(gdstk.Reference(nmos_3, (1.185,1.115)))
dac4133_dsw.add(gdstk.Reference(nmos_3, (1.695,1.115)))
dac4133_dsw.add(gdstk.Reference(nmos_3, (1.185,1.115)))
dac4133_dsw.add(gdstk.Reference(nmos_3, (2.805,1.115)))
dac4133_dsw.add(gdstk.Reference(via_stack_21, (3.465,2.605)))
dac4133_dsw.add(gdstk.Reference(via_stack_21, (2.955,2.605)))
dac4133_dsw.add(gdstk.Reference(via_stack_21, (1.845,2.605)))
dac4133_dsw.add(gdstk.Reference(via_stack_21, (2.355,2.605)))
dac4133_dsw.add(gdstk.Reference(via_stack_12, (1.845,5.155)))
dac4133_dsw.add(gdstk.Reference(via_stack_12, (0.315,6.065)))
dac4133_dsw.add(gdstk.Reference(via_stack_12, (2.955,-0.835)))
dac4133_dsw.add(gdstk.Reference(via_stack_12, (0.825,0.075)))
dac4133_dsw.add(gdstk.Reference(nmos_3, (3.315,1.115)))
dac4133_dsw.add(gdstk.Reference(via_stack_12, (1.335,6.065)))
dac4133_dsw.add(gdstk.Reference(via_stack_12, (2.355,6.065)))
dac4133_dsw.add(gdstk.Reference(via_stack_12, (3.465,5.155)))
dac4133_dsw.add(gdstk.Reference(via_stack_12, (3.975,-0.835)))
dac4133_dsw.add(gdstk.Reference(via_stack_12, (4.995,-0.835)))
dac4133_dsw.add(gdstk.Reference(via_stack_12, (4.485,0.075)))
dac4133_dsw.add(gdstk.Reference(via_stack_23, (2.52,-1.255)))
dac4133_dsw.add(gdstk.Reference(nmos_3, (3.825,1.115)))
dac4133_dsw.add(gdstk.Reference(nmos_3, (4.335,1.115)))
dac4133_dsw.add(gdstk.Reference(via_stack_21, (4.995,2.605)))
dac4133_dsw.add(gdstk.Reference(via_stack_21, (3.975,2.605)))
dac4133_dsw.add(gdstk.Reference(via_stack_21, (4.485,2.605)))
dac4133_dsw.add(gdstk.Reference(via_stack_21, (1.335,2.605)))
dac4133_dsw.add(gdstk.Reference(via_stack_21, (0.825,2.605)))
dac4133_dsw.add(gdstk.Reference(via_stack_21, (0.315,2.605)))
dac4133_dsw.add(gdstk.Reference(nmos_3, (0.675,1.115)))
dac4133_dsw.add(gdstk.Reference(nmos_3, (0.165,1.115)))
dac4133_dsw.add(gdstk.Reference(nmos_3, (0.675,1.115)))
dac4133_dsw.add(gdstk.Reference(nmos_3, (0.165,1.115)))
dac4133_dsw.add(gdstk.Reference(via_stack_14, (4.49,0.78)))
dac4133_dsw.add(gdstk.Reference(guard_ring, (-1.585,-1.305)))
dac4133_dsw.add(gdstk.Reference(via_stack_14, (3.4,4.45)))
dac4133_dsw.add(gdstk.Reference(via_stack_14, (0.75,4.45)))
dac4133_dsw.add(gdstk.Reference(via_stack_14, (1.875,0.775)))

dac4133_output_ctrl_sw = lib.new_cell('DAC4133_output_ctrl_sw')
R(dac4133_output_ctrl_sw, Activ, [(-5.16,-0.176,-1.5,0.174), (-5.165,4.484,-1.505,4.834)])
P(dac4133_output_ctrl_sw, Activ, [(-18,-8.591),(-18,8.099),(-17.69,8.099),(-17.69,-8.281),(17.69,-8.281),(17.69,8.099),(-18,8.099),(-18,8.409),(18,8.409),(18,-8.591)])
A(dac4133_output_ctrl_sw, Cont, -17.93, -8.521, 0.16, 0.16, 106, 1, 0.34, 0)
A(dac4133_output_ctrl_sw, Cont, -17.93, -8.171, 0.16, 0.16, 1, 9, 0, 0.34)
A(dac4133_output_ctrl_sw, Cont, 17.76, -8.171, 0.16, 0.16, 1, 48, 0, 0.34)
A(dac4133_output_ctrl_sw, Cont, -17.93, -4.856, 0.16, 0.16, 1, 33, 0, 0.34)
A(dac4133_output_ctrl_sw, Cont, -17.93, 6.449, 0.16, 0.16, 1, 5, 0, 0.34)
A(dac4133_output_ctrl_sw, Cont, -17.93, 8.169, 0.16, 0.16, 53, 1, 0.34, 0)
A(dac4133_output_ctrl_sw, Cont, 0.43, 8.169, 0.16, 0.16, 52, 1, 0.34, 0)
R(dac4133_output_ctrl_sw, Metal1, [(5.52,-3.671,5.785,-1.051), (-5.175,-0.461,-1.485,0.159), (-5.175,-0.161,-1.485,0.159), (5.52,1.039,5.785,3.659), (-5.18,4.499,-1.49,4.819)])
P(dac4133_output_ctrl_sw, Metal1, [(-18.05,-8.646),(-18.05,8.044),(-17.64,8.044),(-17.64,-8.236),(17.64,-8.236),(17.64,8.044),(-18.05,8.044),(-18.05,8.454),(18.05,8.454),(18.05,-8.646)])
R(dac4133_output_ctrl_sw, Metal2, [(0.26,-2.546,2.31,-2.236), (5.495,-1.421,5.785,-0.721), (2.425,-0.186,7.705,0.154), (-6.28,-0.096,-5.99,0.604), (-6.28,0.514,-0.115,0.804), (-6.28,1.579,-5.99,2.279), (-3.465,1.579,-3.175,2.279), (-0.94,1.969,-0.24,2.279), (0.26,2.224,2.31,2.534), (5.49,2.639,5.865,3.884), (5.52,2.659,5.785,3.359)])
R(dac4133_output_ctrl_sw, Metal2_pin, [(-15.715,-8.801,16.215,-7.301), (0.26,-2.546,2.31,-2.236), (-12.395,-1.891,-12.025,-1.601), (12.275,-1.891,12.76,-1.671), (-16.235,-0.091,-15.81,0.199), (-16.235,-0.091,-12.81,0.199), (-16.235,0.439,-15.81,0.729), (-16.235,0.439,-12.81,0.729), (-16.235,1.579,-15.81,1.869), (0.26,2.224,2.31,2.534), (-16.345,2.239,-15.96,2.529), (12.275,3.599,12.76,3.819), (9.315,4.494,9.725,4.704), (-14.82,5.649,6.165,7.149)])
P(dac4133_output_ctrl_sw, pSD, [(-18.1,-8.691),(-18.1,7.999),(-17.59,7.999),(-17.59,-8.181),(17.59,-8.181),(17.59,7.999),(-18.1,7.999),(-18.1,8.509),(18.1,8.509),(18.1,-8.691)])
R(dac4133_output_ctrl_sw, Metal3, [(-2.185,-8.801,-1.485,0.159), (7.005,-8.801,7.705,0.159), (9.215,-8.801,10.945,-2.401), (-0.94,0.514,-0.24,0.804), (-0.53,0.514,-0.24,2.279), (-0.94,1.969,-0.24,2.279)])
dac4133_output_ctrl_sw.add(gdstk.FlexPath([(-4.855,2.124),(-6.28,2.124)], 0.31, ends="flush", simple_path=True, layer=8, datatype=0))  # Metal1
dac4133_output_ctrl_sw.add(gdstk.FlexPath([(-2.685,2.124),(-3.96,2.124)], 0.31, ends="flush", simple_path=True, layer=8, datatype=0))  # Metal1
dac4133_output_ctrl_sw.add(gdstk.FlexPath([(-0.115,2.124),(-1.75,2.124)], 0.31, ends="flush", simple_path=True, layer=8, datatype=0))  # Metal1
dac4133_output_ctrl_sw.add(gdstk.FlexPath([(9.95,3.714),(13.59,3.714)], 0.29, ends="flush", simple_path=True, layer=10, datatype=0))  # Metal2
dac4133_output_ctrl_sw.add(gdstk.FlexPath([(10.135,2.804),(5.53,2.804)], 0.29, ends="flush", simple_path=True, layer=10, datatype=0))  # Metal2
dac4133_output_ctrl_sw.add(gdstk.FlexPath([(-16.345,0.584),(-10.485,0.584)], 0.29, ends="flush", simple_path=True, layer=10, datatype=0))  # Metal2
dac4133_output_ctrl_sw.add(gdstk.FlexPath([(10.135,-0.866),(5.53,-0.866)], 0.29, ends="flush", simple_path=True, layer=10, datatype=0))  # Metal2
dac4133_output_ctrl_sw.add(gdstk.FlexPath([(-10.005,1.724),(-13.13,1.724)], 0.29, ends="flush", simple_path=True, layer=10, datatype=0))  # Metal2
dac4133_output_ctrl_sw.add(gdstk.FlexPath([(-10.335,1.724),(-5.99,1.724)], 0.29, ends="flush", simple_path=True, layer=10, datatype=0))  # Metal2
dac4133_output_ctrl_sw.add(gdstk.FlexPath([(-16.345,1.724),(-12.73,1.724)], 0.29, ends="flush", simple_path=True, layer=10, datatype=0))  # Metal2
dac4133_output_ctrl_sw.add(gdstk.FlexPath([(-10.335,0.049),(-5.99,0.049)], 0.29, ends="flush", simple_path=True, layer=10, datatype=0))  # Metal2
dac4133_output_ctrl_sw.add(gdstk.FlexPath([(-16.345,2.384),(-12.35,2.384)], 0.29, ends="flush", simple_path=True, layer=10, datatype=0))  # Metal2
dac4133_output_ctrl_sw.add(gdstk.FlexPath([(-10.335,0.584),(-8.365,0.584)], 0.29, ends="flush", simple_path=True, layer=10, datatype=0))  # Metal2
dac4133_output_ctrl_sw.add(gdstk.FlexPath([(-16.345,0.054),(-10.485,0.054)], 0.29, ends="flush", simple_path=True, layer=10, datatype=0))  # Metal2
dac4133_output_ctrl_sw.add(gdstk.FlexPath([(-4.46,0.659),(-0.115,0.659)], 0.29, ends="flush", simple_path=True, layer=10, datatype=0))  # Metal2
dac4133_output_ctrl_sw.add(gdstk.FlexPath([(10.245,-0.866),(7.1,-0.866)], 0.29, ends="flush", simple_path=True, layer=10, datatype=0))  # Metal2
dac4133_output_ctrl_sw.add(gdstk.FlexPath([(-15.715,-8.051),(16.215,-8.051)], 1.5, ends="flush", simple_path=True, layer=10, datatype=0))  # Metal2
dac4133_output_ctrl_sw.add(gdstk.FlexPath([(9.95,-0.866),(14.615,-0.866)], 0.29, ends="flush", simple_path=True, layer=10, datatype=0))  # Metal2
dac4133_output_ctrl_sw.add(gdstk.FlexPath([(-14.82,6.399),(6.165,6.399)], 1.5, ends="flush", simple_path=True, layer=10, datatype=0))  # Metal2
dac4133_output_ctrl_sw.add(gdstk.FlexPath([(-8.655,-0.886),(-3.175,-0.886)], 0.29, ends="flush", simple_path=True, layer=10, datatype=0))  # Metal2
dac4133_output_ctrl_sw.add(gdstk.FlexPath([(-8.51,-1.116),(-8.51,0.729)], 0.29, ends="flush", simple_path=True, layer=30, datatype=0))  # Metal3
dac4133_output_ctrl_sw.add(gdstk.FlexPath([(-3.32,-1.031),(-3.32,2.279)], 0.29, ends="flush", simple_path=True, layer=30, datatype=0))  # Metal3
dac4133_output_ctrl_sw.add(gdstk.FlexPath([(-11.03,-8.801),(-11.03,-3.256)], 1.73, ends="flush", simple_path=True, layer=30, datatype=0))  # Metal3
dac4133_output_ctrl_sw.add(gdstk.FlexPath([(-3.265,7.149),(-3.265,4.499)], 1.73, ends="flush", simple_path=True, layer=30, datatype=0))  # Metal3
dac4133_output_ctrl_sw.add(gdstk.FlexPath([(3.915,7.149),(3.915,4.499)], 1.73, ends="flush", simple_path=True, layer=30, datatype=0))  # Metal3
dac4133_output_ctrl_sw.add(gdstk.FlexPath([(-11.03,7.055),(-11.03,3.32)], 1.73, ends="flush", simple_path=True, layer=30, datatype=0))  # Metal3
dac4133_output_ctrl_sw.add(gdstk.Reference(via_stack_12, (-3.32,-0.681)))
dac4133_output_ctrl_sw.add(gdstk.Reference(via_stack_5, (-3.32,1.929)))
dac4133_output_ctrl_sw.add(gdstk.Reference(via_stack_2, (-0.59,0.659)))
dac4133_output_ctrl_sw.add(gdstk.Reference(via_stack_27, (-1.835,-7.956)))
dac4133_output_ctrl_sw.add(gdstk.Reference(via_stack_26, (-0.59,2.114)))
dac4133_output_ctrl_sw.add(gdstk.Reference(dac4133_tgate, (-8.35,32.344)))
dac4133_output_ctrl_sw.add(gdstk.Reference(via_stack_20, (-6.135,1.929)))
dac4133_output_ctrl_sw.add(gdstk.Reference(via_stack_20, (5.64,3.009)))
dac4133_output_ctrl_sw.add(gdstk.Reference(via_stack_10, (-5.72,-8.436)))
dac4133_output_ctrl_sw.add(gdstk.Reference(via_stack_20, (5.64,-1.071)))
dac4133_output_ctrl_sw.add(gdstk.Reference(via_stack_24, (3.915,4.884)))
dac4133_output_ctrl_sw.add(gdstk.Reference(via_stack_25, (3.915,6.439)))
dac4133_output_ctrl_sw.add(gdstk.Reference(via_stack_24, (-3.265,4.884)))
dac4133_output_ctrl_sw.add(gdstk.Reference(via_stack_25, (-3.265,6.439)))
dac4133_output_ctrl_sw.add(gdstk.Reference(via_stack_25, (-11.03,6.439)))
dac4133_output_ctrl_sw.add(gdstk.Reference(via_stack_22, (-11.03,3.629)))
dac4133_output_ctrl_sw.add(gdstk.Reference(via_stack_12, (-8.51,-0.766)))
dac4133_output_ctrl_sw.add(gdstk.Reference(via_stack_2, (-8.715,0.584)))
dac4133_output_ctrl_sw.add(gdstk.Reference(via_stack_22, (-11.03,-3.726), x_reflection=True))
dac4133_output_ctrl_sw.add(gdstk.Reference(via_stack_10, (-14.245,-8.436)))
dac4133_output_ctrl_sw.add(gdstk.Reference(via_stack_25, (-11.03,-8.051)))
dac4133_output_ctrl_sw.add(gdstk.Reference(via_stack_22, (10.08,-2.796), x_reflection=True))
dac4133_output_ctrl_sw.add(gdstk.Reference(via_stack_10, (1.705,-8.436)))
dac4133_output_ctrl_sw.add(gdstk.Reference(via_stack_10, (13.655,-8.436)))
dac4133_output_ctrl_sw.add(gdstk.Reference(via_stack_25, (10.08,-8.051)))
dac4133_output_ctrl_sw.add(gdstk.Reference(dac4133_non_overlap, (1.745,2.679)))
dac4133_output_ctrl_sw.add(gdstk.Reference(via_stack_28, (-1.835,-0.151)))
dac4133_output_ctrl_sw.add(gdstk.Reference(via_stack_20, (1.935,2.384), rotation=pi/2))
dac4133_output_ctrl_sw.add(gdstk.Reference(via_stack_20, (1.935,-2.391), rotation=pi/2))
dac4133_output_ctrl_sw.add(gdstk.Reference(dac4133_inv, (-3.49,1.544)))
dac4133_output_ctrl_sw.add(gdstk.Reference(dac4133_inv, (-5.685,1.544)))
dac4133_output_ctrl_sw.add(gdstk.Reference(via_stack_28, (7.355,0.124)))
dac4133_output_ctrl_sw.add(gdstk.Reference(via_stack_27, (7.355,-7.956)))
dac4133_output_ctrl_sw.add(gdstk.Reference(dac4133_dsw, (8.64,-1.646)))
dac4133_output_ctrl_sw.add(gdstk.Label('CC_P', (12.42,-1.826), layer=10, texttype=25))
dac4133_output_ctrl_sw.add(gdstk.Label('CC_N', (12.41,3.659), layer=10, texttype=25))
dac4133_output_ctrl_sw.add(gdstk.Label('i_en', (-16.06,1.699), layer=10, texttype=25))
dac4133_output_ctrl_sw.add(gdstk.Label('en_bb', (-16.17,0.074), layer=10, texttype=25))
dac4133_output_ctrl_sw.add(gdstk.Label('i_sign', (0.69,-2.456), layer=10, texttype=25))
dac4133_output_ctrl_sw.add(gdstk.Label('i_signb', (0.775,2.389), layer=10, texttype=25))
dac4133_output_ctrl_sw.add(gdstk.Label('IREF', (-16.3,2.399), layer=10, texttype=25))
dac4133_output_ctrl_sw.add(gdstk.Label('AVDD', (-14.795,6.809), layer=10, texttype=25))
dac4133_output_ctrl_sw.add(gdstk.Label('AVSS', (-15.56,-7.961), layer=10, texttype=25))

lib.write_gds('DAC4133_output_ctrl_sw.gds')
